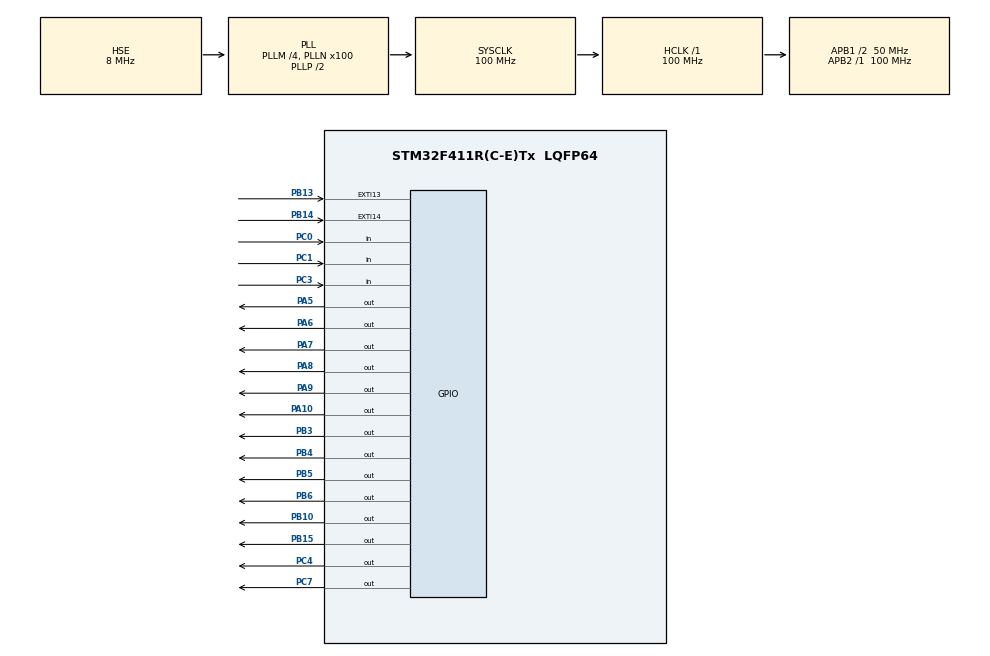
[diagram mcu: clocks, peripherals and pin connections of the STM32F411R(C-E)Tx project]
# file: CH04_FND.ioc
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Mcu.Family=STM32F4
Mcu.Name=STM32F411R(C-E)Tx
Mcu.Package=LQFP64
NVIC.PriorityGroup=NVIC_PRIORITYGROUP_4
PA10.Signal=GPIO_Output
PA5.Signal=GPIO_Output
PA6.Signal=GPIO_Output
PA7.Signal=GPIO_Output
PA8.Signal=GPIO_Output
PA9.Signal=GPIO_Output
PB10.Signal=GPIO_Output
PB13.Signal=GPXTI13
PB14.Signal=GPXTI14
PB15.Signal=GPIO_Output
PB3.Signal=GPIO_Output
PB4.Signal=GPIO_Output
PB5.Signal=GPIO_Output
PB6.Signal=GPIO_Output
PC0.Signal=GPIO_Input
PC1.Signal=GPIO_Input
PC3.Signal=GPIO_Input
PC4.Signal=GPIO_Output
PC7.Signal=GPIO_Output
PH0\ -\ OSC_IN.Mode=HSE-External-Oscillator
PH0\ -\ OSC_IN.Signal=RCC_OSC_IN
PH1\ -\ OSC_OUT.Mode=HSE-External-Oscillator
PH1\ -\ OSC_OUT.Signal=RCC_OSC_OUT
ProjectManager.HeapSize=0x200
ProjectManager.StackSize=0x400
ProjectManager.TargetToolchain=STM32CubeIDE
RCC.48MHZClocksFreq_Value=50000000
RCC.AHBFreq_Value=100000000
RCC.APB1CLKDivider=RCC_HCLK_DIV2
RCC.APB1Freq_Value=50000000
RCC.APB1TimFreq_Value=100000000
RCC.APB2Freq_Value=100000000
RCC.APB2TimFreq_Value=100000000
RCC.CortexFreq_Value=100000000
RCC.HCLKFreq_Value=100000000
RCC.HSE_VALUE=8000000
RCC.HSI_VALUE=16000000
RCC.LSE_VALUE=32768
RCC.PLLM=4
RCC.PLLN=100
RCC.PLLSourceVirtual=RCC_PLLSOURCE_HSE
RCC.SYSCLKFreq_VALUE=100000000
RCC.SYSCLKSource=RCC_SYSCLKSOURCE_PLLCLK
RCC.VCOOutputFreq_Value=200000000
board=custom

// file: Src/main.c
/* USER CODE BEGIN Header */
/**
 ******************************************************************************
 * @file           : main.c
 * @brief          : Main program body
 ******************************************************************************
 * @attention
 *
 * Copyright (c) 2026 STMicroelectronics.
 * All rights reserved.
 *
 * This software is licensed under terms that can be found in the LICENSE file
 * in the root directory of this software component.
 * If no LICENSE file comes with this software, it is provided AS-IS.
 *
 ******************************************************************************
 */
/* USER CODE END Header */
#include "main.h"

/* USER CODE BEGIN PD */
#define D1_GPIO		GPIOA
#define D1_PIN		GPIO_PIN_5
#define D2_GPIO		GPIOB
#define D2_PIN		GPIO_PIN_6
#define D3_GPIO		GPIOC
#define D3_PIN		GPIO_PIN_7
#define D4_GPIO		GPIOA
#define D4_PIN		GPIO_PIN_10

#define A_GPIO		GPIOA
#define A_PIN		GPIO_PIN_6
#define B_GPIO		GPIOA
#define B_PIN		GPIO_PIN_9
#define C_GPIO		GPIOB
#define C_PIN		GPIO_PIN_5
#define D_GPIO		GPIOB
#define D_PIN		GPIO_PIN_10
#define E_GPIO		GPIOA
#define E_PIN		GPIO_PIN_8
#define F_GPIO		GPIOA
#define F_PIN		GPIO_PIN_7
#define G_GPIO		GPIOB
#define G_PIN		GPIO_PIN_3
#define DP_GPIO		GPIOB
#define DP_PIN		GPIO_PIN_4
/* USER CODE END PD */

void SystemClock_Config(void);
static void MX_GPIO_Init(void);

/* USER CODE BEGIN 0 */
void fnd_on_d1()
{
	HAL_GPIO_WritePin(D1_GPIO, D1_PIN, GPIO_PIN_RESET);
	HAL_GPIO_WritePin(D2_GPIO, D2_PIN, GPIO_PIN_SET);
	HAL_GPIO_WritePin(D3_GPIO, D3_PIN, GPIO_PIN_SET);
	HAL_GPIO_WritePin(D4_GPIO, D4_PIN, GPIO_PIN_SET);
}

void fnd_on_d2()
{
	HAL_GPIO_WritePin(D1_GPIO, D1_PIN, GPIO_PIN_SET);
	HAL_GPIO_WritePin(D2_GPIO, D2_PIN, GPIO_PIN_RESET);
	HAL_GPIO_WritePin(D3_GPIO, D3_PIN, GPIO_PIN_SET);
	HAL_GPIO_WritePin(D4_GPIO, D4_PIN, GPIO_PIN_SET);
}

void fnd_on_d3()
{
	HAL_GPIO_WritePin(D1_GPIO, D1_PIN, GPIO_PIN_SET);
	HAL_GPIO_WritePin(D2_GPIO, D2_PIN, GPIO_PIN_SET);
	HAL_GPIO_WritePin(D3_GPIO, D3_PIN, GPIO_PIN_RESET);
	HAL_GPIO_WritePin(D4_GPIO, D4_PIN, GPIO_PIN_SET);
}

void fnd_on_d4()
{
	HAL_GPIO_WritePin(D1_GPIO, D1_PIN, GPIO_PIN_SET);
	HAL_GPIO_WritePin(D2_GPIO, D2_PIN, GPIO_PIN_SET);
	HAL_GPIO_WritePin(D3_GPIO, D3_PIN, GPIO_PIN_SET);
	HAL_GPIO_WritePin(D4_GPIO, D4_PIN, GPIO_PIN_RESET);
}

void fnd_set_0()
{
	HAL_GPIO_WritePin(A_GPIO, A_PIN, GPIO_PIN_SET);
	HAL_GPIO_WritePin(B_GPIO, B_PIN, GPIO_PIN_SET);
	HAL_GPIO_WritePin(C_GPIO, C_PIN, GPIO_PIN_SET);
	HAL_GPIO_WritePin(D_GPIO, D_PIN, GPIO_PIN_SET);
	HAL_GPIO_WritePin(E_GPIO, E_PIN, GPIO_PIN_SET);
	HAL_GPIO_WritePin(F_GPIO, F_PIN, GPIO_PIN_SET);
	HAL_GPIO_WritePin(G_GPIO, G_PIN, GPIO_PIN_RESET);
	HAL_GPIO_WritePin(DP_GPIO, DP_PIN, GPIO_PIN_RESET);
}

void fnd_set_1()
{
	HAL_GPIO_WritePin(A_GPIO, A_PIN, GPIO_PIN_RESET);
	HAL_GPIO_WritePin(B_GPIO, B_PIN, GPIO_PIN_SET);
	HAL_GPIO_WritePin(C_GPIO, C_PIN, GPIO_PIN_SET);
	HAL_GPIO_WritePin(D_GPIO, D_PIN, GPIO_PIN_RESET);
	HAL_GPIO_WritePin(E_GPIO, E_PIN, GPIO_PIN_RESET);
	HAL_GPIO_WritePin(F_GPIO, F_PIN, GPIO_PIN_RESET);
	HAL_GPIO_WritePin(G_GPIO, G_PIN, GPIO_PIN_RESET);
	HAL_GPIO_WritePin(DP_GPIO, DP_PIN, GPIO_PIN_RESET);
}

void fnd_set_2()
{
	HAL_GPIO_WritePin(A_GPIO, A_PIN, GPIO_PIN_SET);
	HAL_GPIO_WritePin(B_GPIO, B_PIN, GPIO_PIN_SET);
	HAL_GPIO_WritePin(C_GPIO, C_PIN, GPIO_PIN_RESET);
	HAL_GPIO_WritePin(D_GPIO, D_PIN, GPIO_PIN_SET);
	HAL_GPIO_WritePin(E_GPIO, E_PIN, GPIO_PIN_SET);
	HAL_GPIO_WritePin(F_GPIO, F_PIN, GPIO_PIN_RESET);
	HAL_GPIO_WritePin(G_GPIO, G_PIN, GPIO_PIN_SET);
	HAL_GPIO_WritePin(DP_GPIO, DP_PIN, GPIO_PIN_RESET);
}

void fnd_set_3()
{
	HAL_GPIO_WritePin(A_GPIO, A_PIN, GPIO_PIN_SET);
	HAL_GPIO_WritePin(B_GPIO, B_PIN, GPIO_PIN_SET);
	HAL_GPIO_WritePin(C_GPIO, C_PIN, GPIO_PIN_SET);
	HAL_GPIO_WritePin(D_GPIO, D_PIN, GPIO_PIN_SET);
	HAL_GPIO_WritePin(E_GPIO, E_PIN, GPIO_PIN_RESET);
	HAL_GPIO_WritePin(F_GPIO, F_PIN, GPIO_PIN_RESET);
	HAL_GPIO_WritePin(G_GPIO, G_PIN, GPIO_PIN_SET);
	HAL_GPIO_WritePin(DP_GPIO, DP_PIN, GPIO_PIN_RESET);
}

void fnd_set_4()
{
	HAL_GPIO_WritePin(A_GPIO, A_PIN, GPIO_PIN_RESET);
	HAL_GPIO_WritePin(B_GPIO, B_PIN, GPIO_PIN_SET);
	HAL_GPIO_WritePin(C_GPIO, C_PIN, GPIO_PIN_SET);
	HAL_GPIO_WritePin(D_GPIO, D_PIN, GPIO_PIN_RESET);
	HAL_GPIO_WritePin(E_GPIO, E_PIN, GPIO_PIN_RESET);
	HAL_GPIO_WritePin(F_GPIO, F_PIN, GPIO_PIN_SET);
	HAL_GPIO_WritePin(G_GPIO, G_PIN, GPIO_PIN_SET);
	HAL_GPIO_WritePin(DP_GPIO, DP_PIN, GPIO_PIN_RESET);
}

void fnd_set_5()
{
	HAL_GPIO_WritePin(A_GPIO, A_PIN, GPIO_PIN_SET);
	HAL_GPIO_WritePin(B_GPIO, B_PIN, GPIO_PIN_RESET);
	HAL_GPIO_WritePin(C_GPIO, C_PIN, GPIO_PIN_SET);
	HAL_GPIO_WritePin(D_GPIO, D_PIN, GPIO_PIN_SET);
	HAL_GPIO_WritePin(E_GPIO, E_PIN, GPIO_PIN_RESET);
	HAL_GPIO_WritePin(F_GPIO, F_PIN, GPIO_PIN_SET);
	HAL_GPIO_WritePin(G_GPIO, G_PIN, GPIO_PIN_SET);
	HAL_GPIO_WritePin(DP_GPIO, DP_PIN, GPIO_PIN_RESET);
}

void fnd_set_6()
{
	HAL_GPIO_WritePin(A_GPIO, A_PIN, GPIO_PIN_SET);
	HAL_GPIO_WritePin(B_GPIO, B_PIN, GPIO_PIN_RESET);
	HAL_GPIO_WritePin(C_GPIO, C_PIN, GPIO_PIN_SET);
	HAL_GPIO_WritePin(D_GPIO, D_PIN, GPIO_PIN_SET);
	HAL_GPIO_WritePin(E_GPIO, E_PIN, GPIO_PIN_SET);
	HAL_GPIO_WritePin(F_GPIO, F_PIN, GPIO_PIN_SET);
	HAL_GPIO_WritePin(G_GPIO, G_PIN, GPIO_PIN_SET);
	HAL_GPIO_WritePin(DP_GPIO, DP_PIN, GPIO_PIN_RESET);
}

void fnd_set_7()
{
	HAL_GPIO_WritePin(A_GPIO, A_PIN, GPIO_PIN_SET);
	HAL_GPIO_WritePin(B_GPIO, B_PIN, GPIO_PIN_SET);
	HAL_GPIO_WritePin(C_GPIO, C_PIN, GPIO_PIN_SET);
	HAL_GPIO_WritePin(D_GPIO, D_PIN, GPIO_PIN_RESET);
	HAL_GPIO_WritePin(E_GPIO, E_PIN, GPIO_PIN_RESET);
	HAL_GPIO_WritePin(F_GPIO, F_PIN, GPIO_PIN_SET);
	HAL_GPIO_WritePin(G_GPIO, G_PIN, GPIO_PIN_RESET);
	HAL_GPIO_WritePin(DP_GPIO, DP_PIN, GPIO_PIN_RESET);
}

void fnd_set_8()
{
	HAL_GPIO_WritePin(A_GPIO, A_PIN, GPIO_PIN_SET);
	HAL_GPIO_WritePin(B_GPIO, B_PIN, GPIO_PIN_SET);
	HAL_GPIO_WritePin(C_GPIO, C_PIN, GPIO_PIN_SET);
	HAL_GPIO_WritePin(D_GPIO, D_PIN, GPIO_PIN_SET);
	HAL_GPIO_WritePin(E_GPIO, E_PIN, GPIO_PIN_SET);
	HAL_GPIO_WritePin(F_GPIO, F_PIN, GPIO_PIN_SET);
	HAL_GPIO_WritePin(G_GPIO, G_PIN, GPIO_PIN_SET);
	HAL_GPIO_WritePin(DP_GPIO, DP_PIN, GPIO_PIN_RESET);
}

void fnd_set_9()
{
	HAL_GPIO_WritePin(A_GPIO, A_PIN, GPIO_PIN_SET);
	HAL_GPIO_WritePin(B_GPIO, B_PIN, GPIO_PIN_SET);
	HAL_GPIO_WritePin(C_GPIO, C_PIN, GPIO_PIN_SET);
	HAL_GPIO_WritePin(D_GPIO, D_PIN, GPIO_PIN_SET);
	HAL_GPIO_WritePin(E_GPIO, E_PIN, GPIO_PIN_RESET);
	HAL_GPIO_WritePin(F_GPIO, F_PIN, GPIO_PIN_SET);
	HAL_GPIO_WritePin(G_GPIO, G_PIN, GPIO_PIN_SET);
	HAL_GPIO_WritePin(DP_GPIO, DP_PIN, GPIO_PIN_RESET);
}

void sel_d1(volatile int d1)
{
	switch(d1){
	case 0:
		fnd_on_d1();
		fnd_set_0();
		HAL_Delay(1);
		break;
	case 1:
		fnd_on_d1();
		fnd_set_1();
		HAL_Delay(1);
		break;
	case 2:
		fnd_on_d1();
		fnd_set_2();
		HAL_Delay(1);
		break;
	case 3:
		fnd_on_d1();
		fnd_set_3();
		HAL_Delay(1);
		break;
	case 4:
		fnd_on_d1();
		fnd_set_4();
		HAL_Delay(1);
		break;
	case 5:
		fnd_on_d1();
		fnd_set_5();
		HAL_Delay(1);
		break;
	case 6:
		fnd_on_d1();
		fnd_set_6();
		HAL_Delay(1);
		break;
	case 7:
		fnd_on_d1();
		fnd_set_7();
		HAL_Delay(1);
		break;
	case 8:
		fnd_on_d1();
		fnd_set_8();
		HAL_Delay(1);
		break;
	case 9:
		fnd_on_d1();
		fnd_set_9();
		HAL_Delay(1);
		break;
	default:
		fnd_on_d1();
		fnd_set_0();
		HAL_Delay(1);
		break;
	}
}

void sel_d2(volatile int d2)
{
	switch(d2){
	case 0:
		fnd_on_d2();
		fnd_set_0();
		HAL_Delay(1);
		break;
	case 1:
		fnd_on_d2();
		fnd_set_1();
		HAL_Delay(1);
		break;
	case 2:
		fnd_on_d2();
		fnd_set_2();
		HAL_Delay(1);
		break;
	case 3:
		fnd_on_d2();
		fnd_set_3();
		HAL_Delay(1);
		break;
	case 4:
		fnd_on_d2();
		fnd_set_4();
		HAL_Delay(1);
		break;
	case 5:
		fnd_on_d2();
		fnd_set_5();
		HAL_Delay(1);
		break;
	case 6:
		fnd_on_d2();
		fnd_set_6();
		HAL_Delay(1);
		break;
	case 7:
		fnd_on_d2();
		fnd_set_7();
		HAL_Delay(1);
		break;
	case 8:
		fnd_on_d2();
		fnd_set_8();
		HAL_Delay(1);
		break;
	case 9:
		fnd_on_d2();
		fnd_set_9();
		HAL_Delay(1);
		break;
	default:
		fnd_on_d1();
		fnd_set_0();
		HAL_Delay(1);
		break;
	}
}

void sel_d3(volatile int d3)
{
	switch(d3){
	case 0:
		fnd_on_d3();
		fnd_set_0();
		HAL_Delay(1);
		break;
	case 1:
		fnd_on_d3();
		fnd_set_1();
		HAL_Delay(1);
		break;
	case 2:
		fnd_on_d3();
		fnd_set_2();
		HAL_Delay(1);
		break;
	case 3:
		fnd_on_d3();
		fnd_set_3();
		HAL_Delay(1);
		break;
	case 4:
		fnd_on_d3();
		fnd_set_4();
		HAL_Delay(1);
		break;
	case 5:
		fnd_on_d3();
		fnd_set_5();
		HAL_Delay(1);
		break;
	case 6:
		fnd_on_d3();
		fnd_set_6();
		HAL_Delay(1);
		break;
	case 7:
		fnd_on_d3();
		fnd_set_7();
		HAL_Delay(1);
		break;
	case 8:
		fnd_on_d3();
		fnd_set_8();
		HAL_Delay(1);
		break;
	case 9:
		fnd_on_d3();
		fnd_set_9();
		HAL_Delay(1);
		break;
	default:
		fnd_on_d3();
		fnd_set_0();
		HAL_Delay(1);
		break;
	}
}

void sel_d4(volatile int d4)
{

	switch(d4){
	case 0:
		fnd_on_d4();
		fnd_set_0();
		HAL_Delay(1);
		break;
	case 1:
		fnd_on_d4();
		fnd_set_1();
		HAL_Delay(1);
		break;
	case 2:
		fnd_on_d4();
		fnd_set_2();
		HAL_Delay(1);
		break;
	case 3:
		fnd_on_d4();
		fnd_set_3();
		HAL_Delay(1);
		break;
	case 4:
		fnd_on_d4();
		fnd_set_4();
		HAL_Delay(1);
		break;
	case 5:
		fnd_on_d4();
		fnd_set_5();
		HAL_Delay(1);
		break;
	case 6:
		fnd_on_d4();
		fnd_set_6();
		HAL_Delay(1);
		break;
	case 7:
		fnd_on_d4();
		fnd_set_7();
		HAL_Delay(1);
		break;
	case 8:
		fnd_on_d4();
		fnd_set_8();
		HAL_Delay(1);
		break;
	case 9:
		fnd_on_d4();
		fnd_set_9();
		HAL_Delay(1);
		break;
	default:
		fnd_on_d4();
		fnd_set_0();
		HAL_Delay(1);
		break;
	}
}
	/* USER CODE END 0 */

	/**
	 * @brief  The application entry point.
	 * @retval int
	 */
	int main(void)
	{

		/* MCU Configuration--------------------------------------------------------*/

		/* Reset of all peripherals, Initializes the Flash interface and the Systick. */
		HAL_Init();

		/* Configure the system clock */
		SystemClock_Config();

		/* Initialize all configured peripherals */
		MX_GPIO_Init();

		/* Infinite loop */
		/* USER CODE BEGIN WHILE */
		volatile int i;
		volatile int d1, d2, d3, d4;
		while (1)
		{
			for(d1 = 0 ; d1<10 ; d1++) {
				for(d2 = 0 ; d2<10 ; d2++){
					for(d3 = 0 ; d3<10 ; d3++){
						for(d4 = 0 ; d4<10 ; d4++){
							for(i = 0 ; i<12 ; i++){
								sel_d1(d1);
								sel_d2(d2);
								sel_d3(d3);
								sel_d4(d4);
							}
						}
					}
				}
			}

		/* USER CODE END WHILE */

	}
}

void SystemClock_Config(void)
{
	RCC_OscInitTypeDef RCC_OscInitStruct = {0};
	RCC_ClkInitTypeDef RCC_ClkInitStruct = {0};

	/** Configure the main internal regulator output voltage
	 */
	__HAL_RCC_PWR_CLK_ENABLE();
	__HAL_PWR_VOLTAGESCALING_CONFIG(PWR_REGULATOR_VOLTAGE_SCALE1);

	/** Initializes the RCC Oscillators according to the specified parameters
	 * in the RCC_OscInitTypeDef structure.
	 */
	RCC_OscInitStruct.OscillatorType = RCC_OSCILLATORTYPE_HSE;
	RCC_OscInitStruct.HSEState = RCC_HSE_ON;
	RCC_OscInitStruct.PLL.PLLState = RCC_PLL_ON;
	RCC_OscInitStruct.PLL.PLLSource = RCC_PLLSOURCE_HSE;
	RCC_OscInitStruct.PLL.PLLM = 4;
	RCC_OscInitStruct.PLL.PLLN = 100;
	RCC_OscInitStruct.PLL.PLLP = RCC_PLLP_DIV2;
	RCC_OscInitStruct.PLL.PLLQ = 4;
	if (HAL_RCC_OscConfig(&RCC_OscInitStruct) != HAL_OK)
	{
		Error_Handler();
	}

	/** Initializes the CPU, AHB and APB buses clocks
	 */
	RCC_ClkInitStruct.ClockType = RCC_CLOCKTYPE_HCLK|RCC_CLOCKTYPE_SYSCLK
			|RCC_CLOCKTYPE_PCLK1|RCC_CLOCKTYPE_PCLK2;
	RCC_ClkInitStruct.SYSCLKSource = RCC_SYSCLKSOURCE_PLLCLK;
	RCC_ClkInitStruct.AHBCLKDivider = RCC_SYSCLK_DIV1;
	RCC_ClkInitStruct.APB1CLKDivider = RCC_HCLK_DIV2;
	RCC_ClkInitStruct.APB2CLKDivider = RCC_HCLK_DIV1;

	if (HAL_RCC_ClockConfig(&RCC_ClkInitStruct, FLASH_LATENCY_3) != HAL_OK)
	{
		Error_Handler();
	}
}

static void MX_GPIO_Init(void)
{
	GPIO_InitTypeDef GPIO_InitStruct = {0};

	/* GPIO Ports Clock Enable */
	__HAL_RCC_GPIOH_CLK_ENABLE();
	__HAL_RCC_GPIOC_CLK_ENABLE();
	__HAL_RCC_GPIOA_CLK_ENABLE();
	__HAL_RCC_GPIOB_CLK_ENABLE();

	/*Configure GPIO pin Output Level */
	HAL_GPIO_WritePin(GPIOA, GPIO_PIN_5|GPIO_PIN_6|GPIO_PIN_7|GPIO_PIN_8
			|GPIO_PIN_9|GPIO_PIN_10, GPIO_PIN_RESET);

	/*Configure GPIO pin Output Level */
	HAL_GPIO_WritePin(GPIOC, GPIO_PIN_4|GPIO_PIN_7, GPIO_PIN_RESET);

	/*Configure GPIO pin Output Level */
	HAL_GPIO_WritePin(GPIOB, GPIO_PIN_10|GPIO_PIN_15|GPIO_PIN_3|GPIO_PIN_4
			|GPIO_PIN_5|GPIO_PIN_6, GPIO_PIN_RESET);

	/*Configure GPIO pins : PC0 PC1 PC3 */
	GPIO_InitStruct.Pin = GPIO_PIN_0|GPIO_PIN_1|GPIO_PIN_3;
	GPIO_InitStruct.Mode = GPIO_MODE_INPUT;
	GPIO_InitStruct.Pull = GPIO_NOPULL;
	HAL_GPIO_Init(GPIOC, &GPIO_InitStruct);

	/*Configure GPIO pins : PA5 PA6 PA7 PA8
                           PA9 PA10 */
	GPIO_InitStruct.Pin = GPIO_PIN_5|GPIO_PIN_6|GPIO_PIN_7|GPIO_PIN_8
			|GPIO_PIN_9|GPIO_PIN_10;
	GPIO_InitStruct.Mode = GPIO_MODE_OUTPUT_PP;
	GPIO_InitStruct.Pull = GPIO_NOPULL;
	GPIO_InitStruct.Speed = GPIO_SPEED_FREQ_LOW;
	HAL_GPIO_Init(GPIOA, &GPIO_InitStruct);

	/*Configure GPIO pins : PC4 PC7 */
	GPIO_InitStruct.Pin = GPIO_PIN_4|GPIO_PIN_7;
	GPIO_InitStruct.Mode = GPIO_MODE_OUTPUT_PP;
	GPIO_InitStruct.Pull = GPIO_NOPULL;
	GPIO_InitStruct.Speed = GPIO_SPEED_FREQ_LOW;
	HAL_GPIO_Init(GPIOC, &GPIO_InitStruct);

	/*Configure GPIO pins : PB10 PB15 PB3 PB4
                           PB5 PB6 */
	GPIO_InitStruct.Pin = GPIO_PIN_10|GPIO_PIN_15|GPIO_PIN_3|GPIO_PIN_4
			|GPIO_PIN_5|GPIO_PIN_6;
	GPIO_InitStruct.Mode = GPIO_MODE_OUTPUT_PP;
	GPIO_InitStruct.Pull = GPIO_NOPULL;
	GPIO_InitStruct.Speed = GPIO_SPEED_FREQ_LOW;
	HAL_GPIO_Init(GPIOB, &GPIO_InitStruct);

	/*Configure GPIO pins : PB13 PB14 */
	GPIO_InitStruct.Pin = GPIO_PIN_13|GPIO_PIN_14;
	GPIO_InitStruct.Mode = GPIO_MODE_IT_RISING;
	GPIO_InitStruct.Pull = GPIO_NOPULL;
	HAL_GPIO_Init(GPIOB, &GPIO_InitStruct);

}

void Error_Handler(void)
{
	__disable_irq();
	while (1)
	{
	}
}
